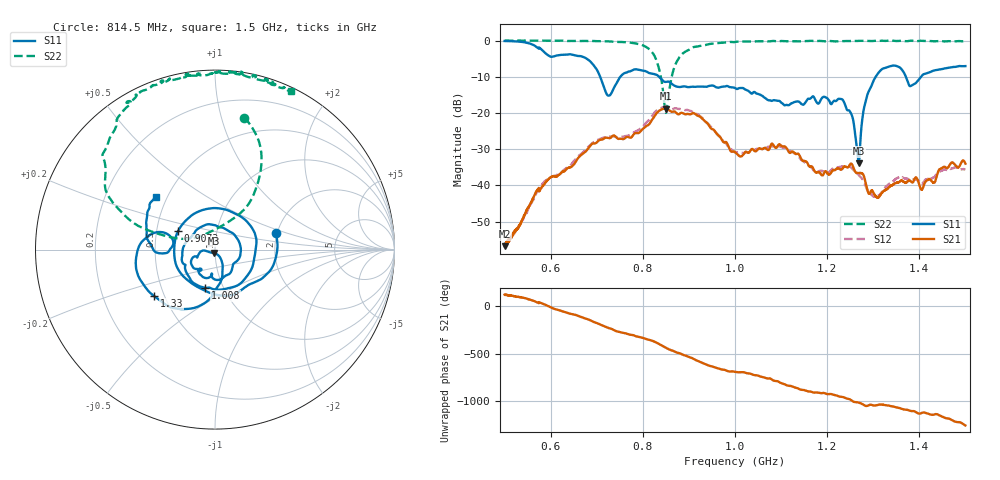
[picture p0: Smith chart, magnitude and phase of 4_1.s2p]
!Agilent Technologies,E8364B,US42250235,A.06.04.32
!Agilent E8364B: A.06.04.32
!Date: Thursday, October 01, 2020 10:58:27
!Correction: S11(Full 2 Port(1,2)) S21(Full 2 Port(1,2)) S12(Full 2 Port(1,2)) S22(Full 2 Port(1,2))
!S2P File: Measurements: S11, S21, S12, S22:
# Hz S  dB  R 50
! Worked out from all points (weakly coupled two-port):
!   2650 points, 500 MHz to 1.5 GHz, reference 50 ohm
!   highest |S21| = -18.78 dB at 849.6 MHz (marker M1); lowest = -56.8 dB at 500 MHz (marker M2)
!   lowest |S11| = -33.9 dB at 1.269 GHz (marker M3), VSWR 1.04, Z = 49.5 - j1.93 ohm
!   |S11| at or under -10 dB: 707.4 MHz to 751.2 MHz (43.76 MHz wide, 6 % of centre); 834.9 MHz to 1.305 GHz (470.5 MHz wide, 44 % of centre); 1.371 GHz to 1.404 GHz (33.07 MHz wide, 2.38 % of centre)
!   |S22| runs from -20.0 to 0.0 dB; largest |S21 - S12| = 0.031
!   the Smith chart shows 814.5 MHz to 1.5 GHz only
!   S11 on the Smith chart (normalised r, x): 814.5 MHz: 1.98, +0.43; 907.3 MHz: 0.65, +0.14; 1.008 GHz: 0.82, -0.37; 1.33 GHz: 0.44, -0.28; 1.5 GHz: 0.43, +0.32
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5e8  -0.12 -175.2  -56.79 116.6  -56.10 114.9  -0.03 138.3
5.653077e8  -1.42 139.6  -42.51 46.8  -43.15 51.4  -0.03 133.0
6.668554e8  -4.36 73.8  -31.54 -118.7  -31.21 -123.7  -0.12 119.9
6.947905e8  -7.07 22.0  -28.42 -171.8  -27.99 -175.8  -0.16 118.3
7.166855e8  -13.36 -58.8  -26.96 146.5  -26.70 139.9  -0.22 114.6
7.483956e8  -10.48 146.3  -27.19 87.8  -26.73 84.7  -0.37 108.0
8.144583e8  -9.01 15.4  -22.98 3.6  -21.78 -4.0  -2.46 77.4
8.337108e8  -9.86 -24.4  -19.59 -35.6  -19.06 -45.5  -7.14 57.2
8.495659e8  -11.42 -53.6  -18.78 -77.2  -18.30 -84.8  -19.92 108.1
8.722159e8  -12.70 -109.4  -19.90 -126.3  -18.70 -132.3  -6.18 161.4
9.073235e8  -12.76 153.7  -20.12 172.0  -19.67 154.8  -1.98 141.0
9.533786e8  -12.48 14.7  -24.61 80.9  -24.63 66.9  -0.80 126.5
1.000189e9  -13.12 -92.6  -30.82 29.3  -30.90 22.2  -0.41 118.0
1.008116e9  -13.16 -104.0  -31.77 24.7  -30.83 17.6  -0.27 117.0
1.097584e9  -16.80 102.1  -28.72 -82.4  -29.29 -90.4  -0.17 105.1
1.166667e9  -15.65 -76.3  -34.79 179.1  -35.24 175.6  -0.08 99.2
1.233484e9  -16.33 -151.3  -35.38 126.9  -34.78 114.9  -0.16 91.0
1.268592e9  -33.94 -103.7  -36.56 67.2  -37.17 55.3  -0.09 88.9
1.287467e9  -14.91 -79.5  -41.29 33.8  -41.29 35.0  -0.09 89.0
1.329747e9  -7.40 -142.7  -41.05 38.5  -40.11 36.5  -0.10 81.8
1.333522e9  -7.20 -147.8  -40.53 37.1  -39.74 33.1  -0.03 81.2
1.5e9  -7.06 138.3  -33.99 -171.2  -35.70 -176.4  -0.19 64.5
